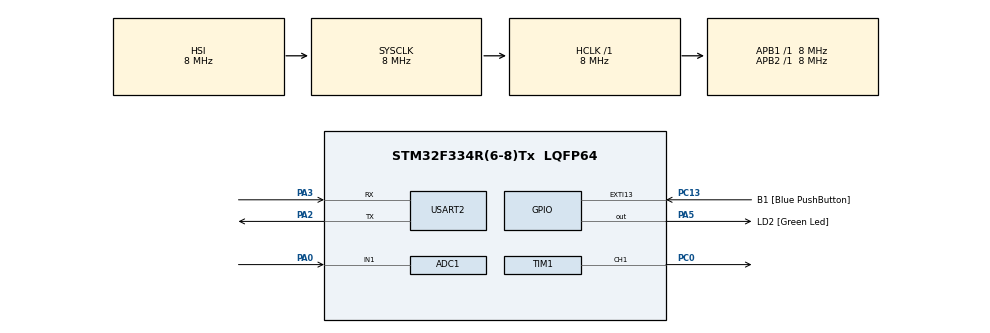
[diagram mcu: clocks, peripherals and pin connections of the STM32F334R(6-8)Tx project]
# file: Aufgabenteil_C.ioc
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ADC1.Channel-0\#ChannelRegularConversion=ADC_CHANNEL_1
ADC1.NbrOfConversionFlag=1
ADC1.Offset-0\#ChannelRegularConversion=0
ADC1.OffsetNumber-0\#ChannelRegularConversion=ADC_OFFSET_NONE
ADC1.Rank-0\#ChannelRegularConversion=1
ADC1.SamplingTime-0\#ChannelRegularConversion=ADC_SAMPLETIME_1CYCLE_5
ADC1.SamplingTimeOPAMP-0\#ChannelRegularConversion=ADC_SAMPLETIME_4CYCLES_5
ADC1.SubFamily=STM32F334x8
ADC1.master=1
Mcu.Family=STM32F3
Mcu.Name=STM32F334R(6-8)Tx
Mcu.Package=LQFP64
NVIC.EXTI15_10_IRQn=true\:0\:0\:false\:false\:true\:true\:true\:true
NVIC.PriorityGroup=NVIC_PRIORITYGROUP_4
PA0.Mode=IN1-Single-Ended
PA0.Signal=ADC1_IN1
PA13.Mode=Serial_Wire
PA13.Signal=SYS_JTMS-SWDIO
PA14.Mode=Serial_Wire
PA14.Signal=SYS_JTCK-SWCLK
PA2.Mode=Asynchronous
PA2.Signal=USART2_TX
PA3.Mode=Asynchronous
PA3.Signal=USART2_RX
PA5.GPIO_Label=LD2 [Green Led]
PA5.Signal=GPIO_Output
PC0.Signal=S_TIM1_CH1
PC13.GPIO_Label=B1 [Blue PushButton]
PC13.Signal=GPXTI13
PC14\ /\ OSC32_IN.Mode=LSE-External-Oscillator
PC14\ /\ OSC32_IN.Signal=RCC_OSC32_IN
PC15\ /\ OSC32_OUT.Mode=LSE-External-Oscillator
PC15\ /\ OSC32_OUT.Signal=RCC_OSC32_OUT
PF0\ /\ OSC_IN.Mode=HSE-External-Clock-Source
PF0\ /\ OSC_IN.Signal=RCC_OSC_IN
PF1\ /\ OSC_OUT.Signal=RCC_OSC_OUT
ProjectManager.HeapSize=0x200
ProjectManager.StackSize=0x400
ProjectManager.TargetToolchain=STM32CubeIDE
RCC.AHBFreq_Value=8000000
RCC.APB1Freq_Value=8000000
RCC.APB2Freq_Value=8000000
RCC.CortexFreq_Value=8000000
RCC.HSE_VALUE=8000000
RCC.HSI_VALUE=8000000
RCC.PLLMUL=RCC_PLL_MUL16
RCC.SYSCLKFreq_VALUE=8000000
SH.S_TIM1_CH1.0=TIM1_CH1,PWM Generation1 CH1
TIM1.Channel-PWM\ Generation1\ CH1=TIM_CHANNEL_1
TIM1.Period=4095
TIM1.Prescaler=1
USART2.VirtualMode-Asynchronous=VM_ASYNC
VP_TIM1_VS_ClockSourceINT.Mode=Internal
board=custom

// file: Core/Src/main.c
/* USER CODE BEGIN Header */
/**
  ******************************************************************************
  * @file           : main.c
  * @brief          : Main program body
  ******************************************************************************
  * @attention
  *
  * Copyright (c) 2022 STMicroelectronics.
  * All rights reserved.
  *
  * This software is licensed under terms that can be found in the LICENSE file
  * in the root directory of this software component.
  * If no LICENSE file comes with this software, it is provided AS-IS.
  *
  ******************************************************************************
  */
/* USER CODE END Header */
#include "main.h"

/* USER CODE BEGIN PD */
#define N 1024
/* USER CODE END PD */

 ADC_HandleTypeDef hadc1;

TIM_HandleTypeDef htim1;

UART_HandleTypeDef huart2;

void SystemClock_Config(void);
static void MX_GPIO_Init(void);
static void MX_ADC1_Init(void);
static void MX_TIM1_Init(void);
static void MX_USART2_UART_Init(void);

int main(void)
{

  /* MCU Configuration--------------------------------------------------------*/

  /* Reset of all peripherals, Initializes the Flash interface and the Systick. */
  HAL_Init();

  /* Configure the system clock */
  SystemClock_Config();

  /* USER CODE BEGIN SysInit */
  int index = 0;
  int average = 0;
  int measurements[N];

  for (int i = 0; i < N; i++) {
	  measurements[i] = 0;
  }

  /* USER CODE END SysInit */

  /* Initialize all configured peripherals */
  MX_GPIO_Init();
  MX_ADC1_Init();
  MX_TIM1_Init();
  MX_USART2_UART_Init();
  /* USER CODE BEGIN 2 */
  HAL_TIM_PWM_Start(&htim1, TIM_CHANNEL_1);
  /* USER CODE END 2 */

  /* Infinite loop */
  /* USER CODE BEGIN WHILE */
  while (1)
  {
	  HAL_ADC_Start(&hadc1);
	  HAL_ADC_PollForConversion(&hadc1, 1);

	  register uint16_t current_value = HAL_ADC_GetValue(&hadc1);
	  int last_value = measurements[index];
	  measurements[index++] = current_value;
	  index %= N;

	  average = average -last_value + current_value;
	  float real_average = average / N;

	  __HAL_TIM_SET_COMPARE(&htim1, TIM_CHANNEL_1, real_average);

	  //__HAL_TIM_SET_COMPARE(&htim1, TIM_CHANNEL_1, current_value);
    /* USER CODE END WHILE */

  }
}

void SystemClock_Config(void)
{
  RCC_OscInitTypeDef RCC_OscInitStruct = {0};
  RCC_ClkInitTypeDef RCC_ClkInitStruct = {0};
  RCC_PeriphCLKInitTypeDef PeriphClkInit = {0};

  /** Initializes the RCC Oscillators according to the specified parameters
  * in the RCC_OscInitTypeDef structure.
  */
  RCC_OscInitStruct.OscillatorType = RCC_OSCILLATORTYPE_HSI;
  RCC_OscInitStruct.HSIState = RCC_HSI_ON;
  RCC_OscInitStruct.HSICalibrationValue = RCC_HSICALIBRATION_DEFAULT;
  RCC_OscInitStruct.PLL.PLLState = RCC_PLL_ON;
  RCC_OscInitStruct.PLL.PLLSource = RCC_PLLSOURCE_HSI;
  RCC_OscInitStruct.PLL.PLLMUL = RCC_PLL_MUL16;
  if (HAL_RCC_OscConfig(&RCC_OscInitStruct) != HAL_OK)
  {
    Error_Handler();
  }

  /** Initializes the CPU, AHB and APB buses clocks
  */
  RCC_ClkInitStruct.ClockType = RCC_CLOCKTYPE_HCLK|RCC_CLOCKTYPE_SYSCLK
                              |RCC_CLOCKTYPE_PCLK1|RCC_CLOCKTYPE_PCLK2;
  RCC_ClkInitStruct.SYSCLKSource = RCC_SYSCLKSOURCE_HSI;
  RCC_ClkInitStruct.AHBCLKDivider = RCC_SYSCLK_DIV1;
  RCC_ClkInitStruct.APB1CLKDivider = RCC_HCLK_DIV1;
  RCC_ClkInitStruct.APB2CLKDivider = RCC_HCLK_DIV1;

  if (HAL_RCC_ClockConfig(&RCC_ClkInitStruct, FLASH_LATENCY_0) != HAL_OK)
  {
    Error_Handler();
  }
  PeriphClkInit.PeriphClockSelection = RCC_PERIPHCLK_TIM1|RCC_PERIPHCLK_ADC12;
  PeriphClkInit.Adc12ClockSelection = RCC_ADC12PLLCLK_DIV1;
  PeriphClkInit.Tim1ClockSelection = RCC_TIM1CLK_HCLK;
  if (HAL_RCCEx_PeriphCLKConfig(&PeriphClkInit) != HAL_OK)
  {
    Error_Handler();
  }
}

static void MX_ADC1_Init(void)
{

  ADC_MultiModeTypeDef multimode = {0};
  ADC_ChannelConfTypeDef sConfig = {0};

  /** Common config
  */
  hadc1.Instance = ADC1;
  hadc1.Init.ClockPrescaler = ADC_CLOCK_ASYNC_DIV1;
  hadc1.Init.Resolution = ADC_RESOLUTION_12B;
  hadc1.Init.ScanConvMode = ADC_SCAN_DISABLE;
  hadc1.Init.ContinuousConvMode = DISABLE;
  hadc1.Init.DiscontinuousConvMode = DISABLE;
  hadc1.Init.ExternalTrigConvEdge = ADC_EXTERNALTRIGCONVEDGE_NONE;
  hadc1.Init.ExternalTrigConv = ADC_SOFTWARE_START;
  hadc1.Init.DataAlign = ADC_DATAALIGN_RIGHT;
  hadc1.Init.NbrOfConversion = 1;
  hadc1.Init.DMAContinuousRequests = DISABLE;
  hadc1.Init.EOCSelection = ADC_EOC_SINGLE_CONV;
  hadc1.Init.LowPowerAutoWait = DISABLE;
  hadc1.Init.Overrun = ADC_OVR_DATA_OVERWRITTEN;
  if (HAL_ADC_Init(&hadc1) != HAL_OK)
  {
    Error_Handler();
  }

  /** Configure the ADC multi-mode
  */
  multimode.Mode = ADC_MODE_INDEPENDENT;
  if (HAL_ADCEx_MultiModeConfigChannel(&hadc1, &multimode) != HAL_OK)
  {
    Error_Handler();
  }

  /** Configure Regular Channel
  */
  sConfig.Channel = ADC_CHANNEL_1;
  sConfig.Rank = ADC_REGULAR_RANK_1;
  sConfig.SingleDiff = ADC_SINGLE_ENDED;
  sConfig.SamplingTime = ADC_SAMPLETIME_1CYCLE_5;
  sConfig.OffsetNumber = ADC_OFFSET_NONE;
  sConfig.Offset = 0;
  if (HAL_ADC_ConfigChannel(&hadc1, &sConfig) != HAL_OK)
  {
    Error_Handler();
  }

}

static void MX_TIM1_Init(void)
{

  TIM_ClockConfigTypeDef sClockSourceConfig = {0};
  TIM_MasterConfigTypeDef sMasterConfig = {0};
  TIM_OC_InitTypeDef sConfigOC = {0};
  TIM_BreakDeadTimeConfigTypeDef sBreakDeadTimeConfig = {0};

  htim1.Instance = TIM1;
  htim1.Init.Prescaler = 1;
  htim1.Init.CounterMode = TIM_COUNTERMODE_UP;
  htim1.Init.Period = 4095;
  htim1.Init.ClockDivision = TIM_CLOCKDIVISION_DIV1;
  htim1.Init.RepetitionCounter = 0;
  htim1.Init.AutoReloadPreload = TIM_AUTORELOAD_PRELOAD_DISABLE;
  if (HAL_TIM_Base_Init(&htim1) != HAL_OK)
  {
    Error_Handler();
  }
  sClockSourceConfig.ClockSource = TIM_CLOCKSOURCE_INTERNAL;
  if (HAL_TIM_ConfigClockSource(&htim1, &sClockSourceConfig) != HAL_OK)
  {
    Error_Handler();
  }
  if (HAL_TIM_PWM_Init(&htim1) != HAL_OK)
  {
    Error_Handler();
  }
  sMasterConfig.MasterOutputTrigger = TIM_TRGO_RESET;
  sMasterConfig.MasterOutputTrigger2 = TIM_TRGO2_RESET;
  sMasterConfig.MasterSlaveMode = TIM_MASTERSLAVEMODE_DISABLE;
  if (HAL_TIMEx_MasterConfigSynchronization(&htim1, &sMasterConfig) != HAL_OK)
  {
    Error_Handler();
  }
  sConfigOC.OCMode = TIM_OCMODE_PWM1;
  sConfigOC.Pulse = 0;
  sConfigOC.OCPolarity = TIM_OCPOLARITY_HIGH;
  sConfigOC.OCNPolarity = TIM_OCNPOLARITY_HIGH;
  sConfigOC.OCFastMode = TIM_OCFAST_DISABLE;
  sConfigOC.OCIdleState = TIM_OCIDLESTATE_RESET;
  sConfigOC.OCNIdleState = TIM_OCNIDLESTATE_RESET;
  if (HAL_TIM_PWM_ConfigChannel(&htim1, &sConfigOC, TIM_CHANNEL_1) != HAL_OK)
  {
    Error_Handler();
  }
  sBreakDeadTimeConfig.OffStateRunMode = TIM_OSSR_DISABLE;
  sBreakDeadTimeConfig.OffStateIDLEMode = TIM_OSSI_DISABLE;
  sBreakDeadTimeConfig.LockLevel = TIM_LOCKLEVEL_OFF;
  sBreakDeadTimeConfig.DeadTime = 0;
  sBreakDeadTimeConfig.BreakState = TIM_BREAK_DISABLE;
  sBreakDeadTimeConfig.BreakPolarity = TIM_BREAKPOLARITY_HIGH;
  sBreakDeadTimeConfig.BreakFilter = 0;
  sBreakDeadTimeConfig.Break2State = TIM_BREAK2_DISABLE;
  sBreakDeadTimeConfig.Break2Polarity = TIM_BREAK2POLARITY_HIGH;
  sBreakDeadTimeConfig.Break2Filter = 0;
  sBreakDeadTimeConfig.AutomaticOutput = TIM_AUTOMATICOUTPUT_DISABLE;
  if (HAL_TIMEx_ConfigBreakDeadTime(&htim1, &sBreakDeadTimeConfig) != HAL_OK)
  {
    Error_Handler();
  }
  HAL_TIM_MspPostInit(&htim1);

}

static void MX_USART2_UART_Init(void)
{

  huart2.Instance = USART2;
  huart2.Init.BaudRate = 38400;
  huart2.Init.WordLength = UART_WORDLENGTH_8B;
  huart2.Init.StopBits = UART_STOPBITS_1;
  huart2.Init.Parity = UART_PARITY_NONE;
  huart2.Init.Mode = UART_MODE_TX_RX;
  huart2.Init.HwFlowCtl = UART_HWCONTROL_NONE;
  huart2.Init.OverSampling = UART_OVERSAMPLING_16;
  huart2.Init.OneBitSampling = UART_ONE_BIT_SAMPLE_DISABLE;
  huart2.AdvancedInit.AdvFeatureInit = UART_ADVFEATURE_NO_INIT;
  if (HAL_UART_Init(&huart2) != HAL_OK)
  {
    Error_Handler();
  }

}

static void MX_GPIO_Init(void)
{
  GPIO_InitTypeDef GPIO_InitStruct = {0};

  /* GPIO Ports Clock Enable */
  __HAL_RCC_GPIOC_CLK_ENABLE();
  __HAL_RCC_GPIOF_CLK_ENABLE();
  __HAL_RCC_GPIOA_CLK_ENABLE();

  /*Configure GPIO pin Output Level */
  HAL_GPIO_WritePin(LD2_GPIO_Port, LD2_Pin, GPIO_PIN_RESET);

  /*Configure GPIO pin : B1_Pin */
  GPIO_InitStruct.Pin = B1_Pin;
  GPIO_InitStruct.Mode = GPIO_MODE_IT_RISING;
  GPIO_InitStruct.Pull = GPIO_NOPULL;
  HAL_GPIO_Init(B1_GPIO_Port, &GPIO_InitStruct);

  /*Configure GPIO pin : LD2_Pin */
  GPIO_InitStruct.Pin = LD2_Pin;
  GPIO_InitStruct.Mode = GPIO_MODE_OUTPUT_PP;
  GPIO_InitStruct.Pull = GPIO_NOPULL;
  GPIO_InitStruct.Speed = GPIO_SPEED_FREQ_LOW;
  HAL_GPIO_Init(LD2_GPIO_Port, &GPIO_InitStruct);

  /* EXTI interrupt init*/
  HAL_NVIC_SetPriority(EXTI15_10_IRQn, 0, 0);
  HAL_NVIC_EnableIRQ(EXTI15_10_IRQn);

}

void Error_Handler(void)
{
  __disable_irq();
  while (1)
  {
  }
}
